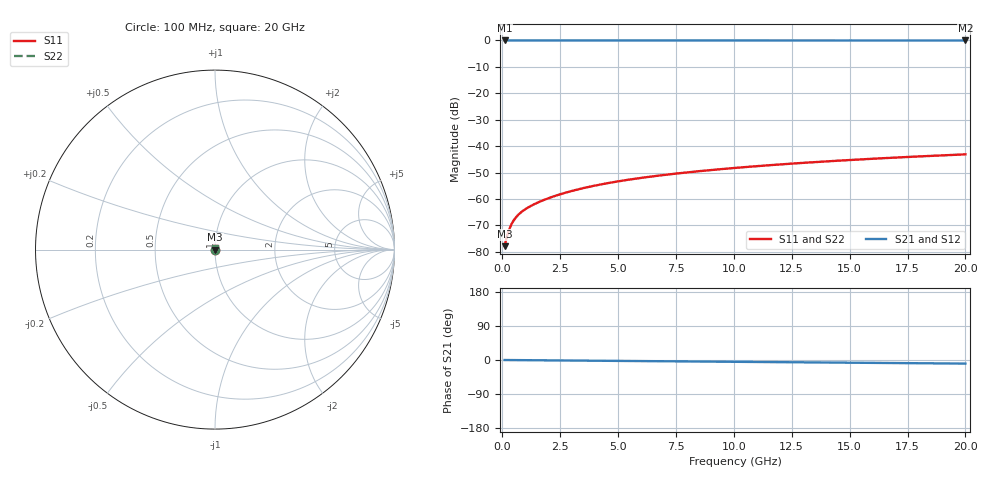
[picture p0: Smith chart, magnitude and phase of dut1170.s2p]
! Touchstone file exported from HFSS 2026.1.0
!  File:  C:/ffzhzh/LocalFiles/Ansys_Project_Files/temp_train_TSV_1170_1783191969_55132.aedt
!  Generated:  03:07:32 AM Jul  5, 2026
!  Design:  TSV
!  Project:  temp_train_TSV_1170_1783191969_55132
! Variables:
!  h_bsmrdl = 2um
!  h_ox = 20um
!  h_rdl = 5um
!  h_sub = 94.74um
!  h_tmrdl = 5um
!  h_tsv = 94.74um
!  h_via = 3um
!  l_bsmrdl = 300um
!  l_sub = 425.74um
!  l_tmrdl = 200um
!  m_sub = 200um
!  pitch = 54.05um
!  r_tsv = 12.87um
!  s_tmrdl = 10um
!  w_bsmrdl = 18um
!  w_sub = 500um
!  w_tmrdl = 12um
!  x_tsv_center1 = 206um
!  x_tsv_center2 = 524um
!  x_tsv_center3 = 736um
!  x_tsv_center4 = 1054um
!  x_tsv_center5 = 1266um
!  x_tsv_center6 = 1584um
# GHz S MA R 50.000000
! Terminal data exported
! Port[1] = TSV1_1_T1
! Port[2] = TSV1_1_T2
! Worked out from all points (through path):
!   200 points, 100 MHz to 20 GHz, reference 50 ohm
!   highest |S21| = 0.00 dB at 100 MHz (marker M1); lowest = 0.0 dB at 20 GHz (marker M2)
!   group delay of S21, straight-line fit = 1.31 ps
!   lowest |S11| = -77.9 dB at 100 MHz (marker M3), VSWR 1.00, Z = 50 + j0.00816 ohm
!   |S11| at or under -10 dB: start of sweep to end of sweep
!   |S22| runs from -77.9 to -43.1 dB; largest |S21 - S12| = 5.1e-15
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0.1  0.0001277 39.7  0.9999 -0.1  0.9999 -0.1  0.0001277 39.7
! Gamma 0 0 0 0
! Port Impedance 50 0 50 0
0.2  0.0001954 54.6  0.9999 -0.1  0.9999 -0.1  0.0001954 54.6
0.3  0.000267 59.6  0.9999 -0.1  0.9999 -0.1  0.000267 59.6
0.4  0.0003349 61.4  0.9998 -0.2  0.9998 -0.2  0.0003349 61.4
0.5  0.0003972 61.9  0.9998 -0.2  0.9998 -0.2  0.0003972 61.9
0.6  0.000454 62.0  0.9998 -0.3  0.9998 -0.3  0.000454 62.0
0.7  0.000506 62.1  0.9998 -0.3  0.9998 -0.3  0.000506 62.1
0.9  0.0005993 62.4  0.9997 -0.4  0.9997 -0.4  0.0005993 62.4
1.1  0.0006839 62.9  0.9997 -0.5  0.9997 -0.5  0.0006839 62.9
1.3  0.000764 63.7  0.9997 -0.6  0.9997 -0.6  0.000764 63.7
1.9  0.0009957 66.1  0.9996 -0.9  0.9996 -0.9  0.0009957 66.1
2.6  0.001263 68.3  0.9996 -1.2  0.9996 -1.2  0.001263 68.3
3.5  0.001603 70.0  0.9995 -1.7  0.9995 -1.7  0.001603 70.0
4.2  0.001862 70.7  0.9994 -2.0  0.9994 -2.0  0.001862 70.7
5  0.002152 71.3  0.9994 -2.4  0.9994 -2.4  0.002152 71.3
5.9  0.002469 71.7  0.9993 -2.8  0.9993 -2.8  0.002469 71.7
6.8  0.00278 71.9  0.9993 -3.2  0.9993 -3.2  0.00278 71.9
8.3  0.003287 72.2  0.9992 -3.9  0.9992 -3.9  0.003287 72.2
10.1  0.003883 72.3  0.9991 -4.8  0.9991 -4.8  0.003883 72.3
13.4  0.004949 72.1  0.999 -6.4  0.999 -6.4  0.004949 72.1
16.7  0.005984 71.4  0.9989 -7.9  0.9989 -7.9  0.005984 71.4
20  0.00698 70.5  0.9987 -9.5  0.9987 -9.5  0.00698 70.4
